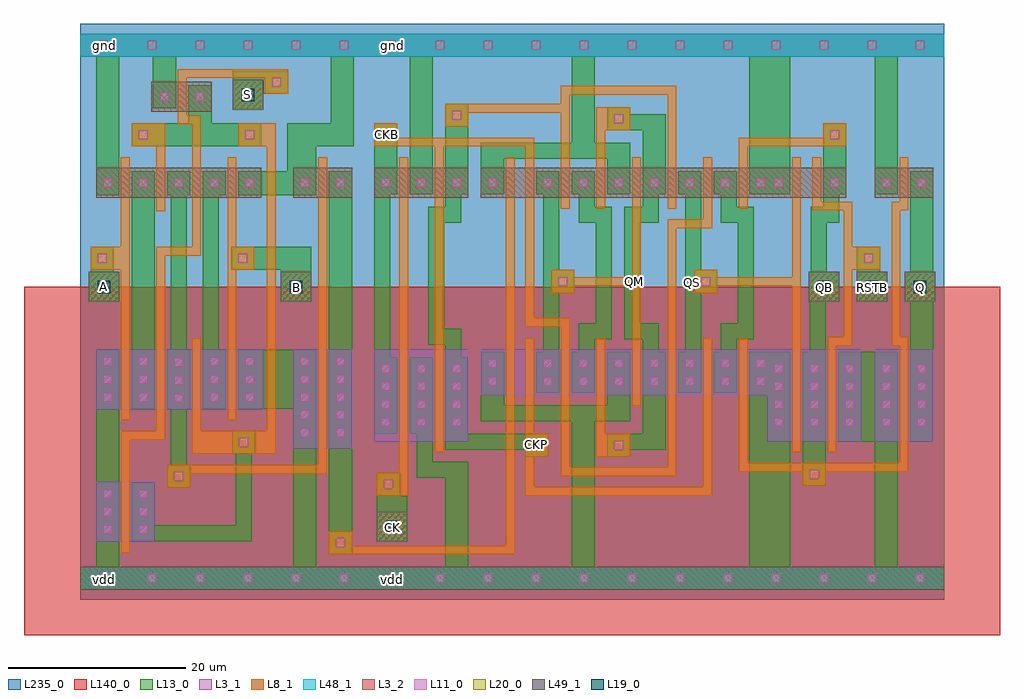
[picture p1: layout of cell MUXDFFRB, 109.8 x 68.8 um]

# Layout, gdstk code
import gdstk
lib = gdstk.Library(unit=1e-6, precision=1e-09)
def R(c, l, rs):  # rectangles x0, y0, x1, y1
    for r in rs: c.add(gdstk.rectangle(r[:2], r[2:], *l))
def A(c, l, x, y, w, h, nx, ny, dx, dy):  # array of equal rectangles
    R(c, l, [(x+i*dx, y+j*dy, x+i*dx+w, y+j*dy+h) for i in range(nx) for j in range(ny)])
def P(c, l, *ps):  # polygons
    for p in ps: c.add(gdstk.Polygon(p, *l))
L3_1 = (3, 1)
L3_2 = (3, 2)
L8_1 = (8, 1)
L11_0 = (11, 0)
L13_0 = (13, 0)
L19_0 = (19, 0)
L20_0 = (20, 0)
L48_1 = (48, 1)
L49_1 = (49, 1)
L140_0 = (140, 0)
L235_0 = (235, 0)

muxdffrb = lib.new_cell('MUXDFFRB')
R(muxdffrb, L3_1, [(1.8,-58.3,8.4,-51.5), (24,-47.8,30.6,-36.6), (33.1,-47,43.7,-36.6), (89.4,-47,96,-36.6), (1.8,-43.4,20.6,-36.6), (45.1,-41.8,71.4,-36.6), (0,-3.7,32.4,-1.1), (32.4,-3.7,71.4,-1.1), (71.4,-3.7,97.2,-1.1)])
P(muxdffrb, L3_1, [(77.3,-47),(77.3,-41.8),(71.4,-41.8),(71.4,-36.6),(87.9,-36.6),(87.9,-47)])
R(muxdffrb, L3_2, [(0,-63.7,32.4,-61.1), (32.4,-63.7,71.4,-61.1), (71.4,-63.7,97.2,-61.1), (1.8,-19.6,20.4,-16.2), (24,-19.6,30.6,-16.2), (33.1,-19.6,43.7,-16.2), (45.1,-19.6,71.4,-16.2), (71.4,-19.6,86.2,-16.2), (89.4,-19.6,96,-16.2), (8,-9.9,14.8,-6.5)])
P(muxdffrb, L8_1, [(58.1,-20.8),(58.1,-9.4),(61.9,-9.4),(61.9,-12),(59.1,-12),(59.1,-20.8)],
  [(54.1,-20.8),(54.1,-10),(43.7,-10),(43.7,-11.6),(41.1,-11.6),(41.1,-9),(54.1,-9),(54.1,-7),(67.1,-7),(67.1,-20.8),(66.1,-20.8),(66.1,-8),(55.1,-8),(55.1,-20.8)],
  [(74.1,-20.8),(74.1,-12.8),(83.6,-12.8),(83.6,-11.2),(86.2,-11.2),(86.2,-13.8),(75.1,-13.8),(75.1,-20.8)],
  [(8.6,-21.1),(8.6,-13.8),(5.8,-13.8),(5.8,-11.2),(9.6,-11.2),(9.6,-21.1)],
  [(62.1,-43),(62.1,-29.5),(55.6,-29.5),(55.6,-30.3),(53,-30.3),(53,-27.7),(55.6,-27.7),(55.6,-28.5),(62.1,-28.5),(62.1,-15),(63.1,-15),(63.1,-43)],
  [(4.6,-44.6),(4.6,-27.7),(1.2,-27.7),(1.2,-25.1),(4.6,-25.1),(4.6,-15),(5.6,-15),(5.6,-44.6)],
  [(16.6,-44.6),(16.6,-15),(17.6,-15),(17.6,-25.1),(19.6,-25.1),(19.6,-27.7),(17.6,-27.7),(17.6,-44.6)],
  [(80.1,-48.2),(80.1,-29.5),(71.7,-29.5),(71.7,-30.3),(69.1,-30.3),(69.1,-27.7),(71.7,-27.7),(71.7,-28.5),(80.1,-28.5),(80.1,-15),(81.1,-15),(81.1,-48.2)],
  [(84.1,-48.2),(84.1,-35.2),(85.9,-35.2),(85.9,-21),(82.4,-21),(82.4,-15),(83.4,-15),(83.4,-20),(86.9,-20),(86.9,-25.1),(90,-25.1),(90,-27.7),(86.9,-27.7),(86.9,-36.2),(85.1,-36.2),(85.1,-48.2)],
  [(12.6,-48.4),(12.6,-35.4),(13.6,-35.4),(13.6,-45.8),(21,-45.8),(21,-13.8),(17.8,-13.8),(17.8,-11.2),(22,-11.2),(22,-48.4)],
  [(58.1,-48.7),(58.1,-35.4),(59.1,-35.4),(59.1,-46.1),(61.9,-46.1),(61.9,-48.7)],
  [(54.1,-50.9),(54.1,-34.1),(50.1,-34.1),(50.1,-13.8),(40.9,-13.8),(40.9,-48.2),(39.9,-48.2),(39.9,-13.8),(33.1,-13.8),(33.1,-11.2),(35.7,-11.2),(35.7,-12.8),(51.1,-12.8),(51.1,-33.1),(55.1,-33.1),(55.1,-49.9),(66.1,-49.9),(66.1,-22),(70.1,-22),(70.1,-15),(71.1,-15),(71.1,-23),(67.1,-23),(67.1,-50.9)],
  [(81.3,-52),(81.3,-50.4),(74.1,-50.4),(74.1,-35.4),(75.1,-35.4),(75.1,-49.4),(92.2,-49.4),(92.2,-36.2),(91.3,-36.2),(91.3,-20),(92.2,-20),(92.2,-15),(93.2,-15),(93.2,-21),(92.3,-21),(92.3,-35.2),(93.2,-35.2),(93.2,-50.4),(83.9,-50.4),(83.9,-52)],
  [(9.8,-52.2),(9.8,-49.6),(26.8,-49.6),(26.8,-15),(27.8,-15),(27.8,-50.6),(12.4,-50.6),(12.4,-52.2)],
  [(33.4,-53.1),(33.4,-50.5),(35.9,-50.5),(35.9,-15),(36.9,-15),(36.9,-53.1)],
  [(50.1,-53.1),(50.1,-35.4),(51.1,-35.4),(51.1,-46.1),(52.7,-46.1),(52.7,-48.7),(51.1,-48.7),(51.1,-52.1),(70.1,-52.1),(70.1,-35.4),(71.1,-35.4),(71.1,-53.1)],
  [(4.6,-59.5),(4.6,-45.8),(8.6,-45.8),(8.6,-25.1),(12.6,-25.1),(12.6,-11.3),(11,-11.3),(11,-5.1),(23.4,-5.1),(23.4,-7.9),(20.8,-7.9),(20.8,-6.1),(12,-6.1),(12,-10.3),(13.6,-10.3),(13.6,-26.1),(9.6,-26.1),(9.6,-46.8),(5.6,-46.8),(5.6,-59.5)],
  [(28,-59.7),(28,-57.1),(30.6,-57.1),(30.6,-58.7),(47.9,-58.7),(47.9,-15),(48.9,-15),(48.9,-59.7)])
A(muxdffrb, L11_0, 2.2, -62.9, 1, 1, 18, 2, 5.4, 60)
A(muxdffrb, L11_0, 2.6, -57.4, 1, 1, 1, 3, 0, 2)
A(muxdffrb, L11_0, 6.6, -57.4, 1, 1, 1, 3, 0, 2)
A(muxdffrb, L11_0, 24.8, -46.5, 1, 1, 1, 5, 0, 2)
A(muxdffrb, L11_0, 28.8, -46.5, 1, 1, 1, 5, 0, 2)
A(muxdffrb, L11_0, 33.9, -45.3, 1, 1, 3, 4, 4, 2)
A(muxdffrb, L11_0, 78.1, -45.3, 1, 1, 1, 3, 0, 2)
A(muxdffrb, L11_0, 10.6, -42.6, 1, 1, 1, 3, 0, 2)
A(muxdffrb, L11_0, 2.6, -42.5, 1, 1, 1, 3, 0, 2)
A(muxdffrb, L11_0, 6.6, -42.5, 1, 1, 1, 3, 0, 2)
A(muxdffrb, L11_0, 14.6, -42.5, 1, 1, 1, 3, 0, 2)
A(muxdffrb, L11_0, 18.6, -42.5, 1, 1, 1, 3, 0, 2)
A(muxdffrb, L11_0, 2.6, -18.4, 1, 1, 5, 1, 4, 0)
A(muxdffrb, L11_0, 33.9, -18.4, 1, 1, 4, 1, 4, 0)
R(muxdffrb, L11_0, [(28.8,-58.9,29.8,-57.9), (34.2,-52.3,35.2,-51.3), (10.6,-51.4,11.6,-50.4), (82.1,-51.2,83.1,-50.2), (50.9,-47.9,51.9,-46.9), (60.1,-47.9,61.1,-46.9), (17.9,-47.6,18.9,-46.6), (82.1,-45.3,83.1,-44.3), (82.1,-45.3,83.1,-44.3), (82.1,-45.3,83.1,-44.3), (86.1,-45.3,87.1,-44.3), (86.1,-45.3,87.1,-44.3), (86.1,-45.3,87.1,-44.3), (90.2,-45.3,91.2,-44.3), (90.2,-45.3,91.2,-44.3), (90.2,-45.3,91.2,-44.3), (90.2,-45.3,91.2,-44.3), (94.2,-45.3,95.2,-44.3), (94.2,-45.3,95.2,-44.3), (82.1,-43.3,83.1,-42.3), (82.1,-43.3,83.1,-42.3), (82.1,-43.3,83.1,-42.3), (86.1,-43.3,87.1,-42.3), (86.1,-43.3,87.1,-42.3), (86.1,-43.3,87.1,-42.3), (90.2,-43.3,91.2,-42.3), (90.2,-43.3,91.2,-42.3), (90.2,-43.3,91.2,-42.3), (90.2,-43.3,91.2,-42.3), (94.2,-43.3,95.2,-42.3), (94.2,-43.3,95.2,-42.3), (78.1,-41.3,79.1,-40.3), (78.1,-41.3,79.1,-40.3), (78.1,-41.3,79.1,-40.3), (78.1,-41.3,79.1,-40.3), (78.1,-41.3,79.1,-40.3), (82.1,-41.3,83.1,-40.3), (82.1,-41.3,83.1,-40.3), (82.1,-41.3,83.1,-40.3), (86.1,-41.3,87.1,-40.3), (86.1,-41.3,87.1,-40.3), (86.1,-41.3,87.1,-40.3), (90.2,-41.3,91.2,-40.3), (90.2,-41.3,91.2,-40.3), (94.2,-41.3,95.2,-40.3), (94.2,-41.3,95.2,-40.3), (45.9,-40.7,46.9,-39.7), (52.1,-40.7,53.1,-39.7), (52.1,-40.7,53.1,-39.7), (56.1,-40.7,57.1,-39.7), (56.1,-40.7,57.1,-39.7), (60.1,-40.7,61.1,-39.7), (60.1,-40.7,61.1,-39.7), (60.1,-40.7,61.1,-39.7), (60.1,-40.7,61.1,-39.7), (64.1,-40.7,65.1,-39.7), (64.1,-40.7,65.1,-39.7), (68.1,-40.7,69.1,-39.7), (68.1,-40.7,69.1,-39.7), (68.1,-40.7,69.1,-39.7), (68.1,-40.7,69.1,-39.7), (72.1,-40.7,73.1,-39.7), (72.1,-40.7,73.1,-39.7), (76.1,-40.7,77.1,-39.7), (78.1,-39.3,79.1,-38.3), (78.1,-39.3,79.1,-38.3), (78.1,-39.3,79.1,-38.3), (78.1,-39.3,79.1,-38.3), (78.1,-39.3,79.1,-38.3), (82.1,-39.3,83.1,-38.3), (82.1,-39.3,83.1,-38.3), (82.1,-39.3,83.1,-38.3), (86.1,-39.3,87.1,-38.3), (86.1,-39.3,87.1,-38.3), (86.1,-39.3,87.1,-38.3), (90.2,-39.3,91.2,-38.3), (90.2,-39.3,91.2,-38.3), (94.2,-39.3,95.2,-38.3), (94.2,-39.3,95.2,-38.3), (45.9,-38.7,46.9,-37.7), (52.1,-38.7,53.1,-37.7), (52.1,-38.7,53.1,-37.7), (56.1,-38.7,57.1,-37.7), (56.1,-38.7,57.1,-37.7), (60.1,-38.7,61.1,-37.7), (60.1,-38.7,61.1,-37.7), (60.1,-38.7,61.1,-37.7), (60.1,-38.7,61.1,-37.7), (64.1,-38.7,65.1,-37.7), (64.1,-38.7,65.1,-37.7), (68.1,-38.7,69.1,-37.7), (68.1,-38.7,69.1,-37.7), (68.1,-38.7,69.1,-37.7), (68.1,-38.7,69.1,-37.7), (72.1,-38.7,73.1,-37.7), (72.1,-38.7,73.1,-37.7), (76.1,-38.7,77.1,-37.7), (53.8,-29.5,54.8,-28.5), (69.9,-29.5,70.9,-28.5), (2,-26.9,3,-25.9), (17.8,-26.9,18.8,-25.9), (88.2,-26.9,89.2,-25.9), (24.8,-18.4,25.8,-17.4), (28.8,-18.4,29.8,-17.4), (52.1,-18.4,53.1,-17.4), (52.1,-18.4,53.1,-17.4), (56.1,-18.4,57.1,-17.4), (56.1,-18.4,57.1,-17.4), (60.1,-18.4,61.1,-17.4), (60.1,-18.4,61.1,-17.4), (60.1,-18.4,61.1,-17.4), (60.1,-18.4,61.1,-17.4), (64.1,-18.4,65.1,-17.4), (64.1,-18.4,65.1,-17.4), (68.1,-18.4,69.1,-17.4), (68.1,-18.4,69.1,-17.4), (68.1,-18.4,69.1,-17.4), (68.1,-18.4,69.1,-17.4), (72.1,-18.4,73.1,-17.4), (72.1,-18.4,73.1,-17.4), (76.1,-18.4,77.1,-17.4), (78.1,-18.4,79.1,-17.4), (78.1,-18.4,79.1,-17.4), (78.1,-18.4,79.1,-17.4), (78.1,-18.4,79.1,-17.4), (78.1,-18.4,79.1,-17.4), (78.1,-18.4,79.1,-17.4), (84.4,-18.4,85.4,-17.4), (90.2,-18.4,91.2,-17.4), (90.2,-18.4,91.2,-17.4), (94.2,-18.4,95.2,-17.4), (6.6,-13,7.6,-12), (18.6,-13,19.6,-12), (33.9,-13,34.9,-12), (84.4,-13,85.4,-12), (60.1,-11.2,61.1,-10.2), (41.9,-10.8,42.9,-9.8), (9,-8.7,10,-7.7), (13,-8.7,14,-7.7), (21.6,-7.1,22.6,-6.1)])
R(muxdffrb, L13_0, [(0,-63.7,32.4,-61.1), (32.4,-63.7,71.4,-61.1), (71.4,-63.7,97.2,-61.1), (1.8,-61.1,4.4,-36.7), (75.3,-61.1,79.9,-36.9), (28,-59.7,30.6,-16.6), (5.8,-43.3,8.4,-16.6), (1.8,-19.3,4.4,-3.7), (37.1,-19.2,39.7,-3.7), (75.3,-19.2,79.9,-3.7), (89.4,-19.2,92,-3.7), (8.2,-9.5,10.8,-3.7), (0,-3.7,32.4,-1.1), (32.4,-3.7,71.4,-1.1), (71.4,-3.7,97.2,-1.1)])
P(muxdffrb, L13_0, [(17.2,-9.7),(17.2,-5.3),(23.4,-5.3),(23.4,-7.9),(20.6,-7.9),(20.6,-9.7)],
  [(5.8,-13.8),(5.8,-11.2),(12.2,-11.2),(12.2,-6.9),(14.8,-6.9),(14.8,-11.2),(20.4,-11.2),(20.4,-13.8)],
  [(45.1,-19.2),(45.1,-13.4),(55.3,-13.4),(55.3,-3.7),(57.9,-3.7),(57.9,-13.4),(61.9,-13.4),(61.9,-19.2),(59.3,-19.2),(59.3,-15.2),(47.7,-15.2),(47.7,-19.2)],
  [(17.8,-19.3),(17.8,-16.6),(23.3,-16.6),(23.3,-11.2),(28.2,-11.2),(28.2,-3.7),(30.8,-3.7),(30.8,-13.8),(26.6,-13.8),(26.6,-19.3)],
  [(1,-31.3),(1,-27.9),(1.2,-27.9),(1.2,-25.1),(3.8,-25.1),(3.8,-27.9),(4.4,-27.9),(4.4,-31.3)],
  [(22.6,-31.3),(22.6,-27.7),(17,-27.7),(17,-25.1),(26,-25.1),(26,-31.3)],
  [(87.4,-31.3),(87.4,-25.1),(90,-25.1),(90,-27.9),(90.8,-27.9),(90.8,-31.3)],
  [(51.3,-41.5),(51.3,-36.9),(52.1,-36.9),(52.1,-19.2),(51.3,-19.2),(51.3,-16.6),(53.9,-16.6),(53.9,-27.7),(55.6,-27.7),(55.6,-30.3),(53.9,-30.3),(53.9,-41.5)],
  [(55.3,-41.5),(55.3,-36.9),(56.1,-36.9),(56.1,-33.7),(58,-33.7),(58,-22.4),(56.1,-22.4),(56.1,-19.2),(55.3,-19.2),(55.3,-16.6),(57.9,-16.6),(57.9,-20.6),(59.8,-20.6),(59.8,-35.5),(57.9,-35.5),(57.9,-41.5)],
  [(67.3,-41.5),(67.3,-36.9),(68.1,-36.9),(68.1,-19.2),(67.3,-19.2),(67.3,-16.6),(69.9,-16.6),(69.9,-27.7),(71.7,-27.7),(71.7,-30.3),(69.9,-30.3),(69.9,-41.5)],
  [(71.3,-41.5),(71.3,-36.9),(72.1,-36.9),(72.1,-33.7),(74,-33.7),(74,-22.4),(72.1,-22.4),(72.1,-19.2),(71.3,-19.2),(71.3,-16.6),(73.9,-16.6),(73.9,-20.6),(75.8,-20.6),(75.8,-35.5),(73.9,-35.5),(73.9,-41.5)],
  [(13.8,-43.3),(13.8,-16.6),(16.4,-16.6),(16.4,-19.3),(15.6,-19.3),(15.6,-36.7),(16.4,-36.7),(16.4,-43.3)],
  [(33.1,-46.1),(33.1,-11.2),(35.7,-11.2),(35.7,-19.2),(34.9,-19.2),(34.9,-37.5),(35.7,-37.5),(35.7,-46.1)],
  [(93.4,-47),(93.4,-31.3),(92.8,-31.3),(92.8,-27.9),(93.4,-27.9),(93.4,-16.6),(96,-16.6),(96,-27.9),(96.2,-27.9),(96.2,-31.3),(96,-31.3),(96,-47)],
  [(50.1,-48.7),(50.1,-47.9),(41.1,-47.9),(41.1,-36.1),(39.2,-36.1),(39.2,-20.6),(41.1,-20.6),(41.1,-9),(43.7,-9),(43.7,-19.2),(42.9,-19.2),(42.9,-22.4),(41,-22.4),(41,-34.3),(42.9,-34.3),(42.9,-37.5),(43.7,-37.5),(43.7,-46.1),(52.7,-46.1),(52.7,-48.7)],
  [(59.3,-48.7),(59.3,-46.1),(63.3,-46.1),(63.3,-35.5),(61.2,-35.5),(61.2,-20.6),(63.3,-20.6),(63.3,-12),(59.3,-12),(59.3,-9.4),(61.9,-9.4),(61.9,-10.2),(65.9,-10.2),(65.9,-19.2),(65.1,-19.2),(65.1,-22.4),(63,-22.4),(63,-33.7),(65.1,-33.7),(65.1,-36.9),(65.9,-36.9),(65.9,-47.9),(61.9,-47.9),(61.9,-48.7)],
  [(81.3,-52),(81.3,-36.9),(82.1,-36.9),(82.1,-31.3),(82,-31.3),(82,-27.9),(82.2,-27.9),(82.2,-20.6),(83.6,-20.6),(83.6,-11.2),(86.2,-11.2),(86.2,-19.2),(85.4,-19.2),(85.4,-22.4),(84,-22.4),(84,-27.9),(85.4,-27.9),(85.4,-31.3),(83.9,-31.3),(83.9,-52)],
  [(9.8,-52.2),(9.8,-49.6),(10.2,-49.6),(10.2,-43.3),(9.8,-43.3),(9.8,-36.7),(10.2,-36.7),(10.2,-19.3),(9.8,-19.3),(9.8,-16.6),(12.4,-16.6),(12.4,-19.3),(12,-19.3),(12,-36.7),(12.4,-36.7),(12.4,-43.3),(12,-43.3),(12,-49.6),(12.4,-49.6),(12.4,-52.2)],
  [(5.8,-58.2),(5.8,-51.6),(8.4,-51.6),(8.4,-56.4),(17.5,-56.4),(17.5,-48.4),(17.1,-48.4),(17.1,-45.8),(19.7,-45.8),(19.7,-48.4),(19.3,-48.4),(19.3,-58.2)],
  [(33.4,-58.3),(33.4,-50.5),(36,-50.5),(36,-53.1),(36.8,-53.1),(36.8,-58.3)],
  [(24,-61.1),(24,-43.3),(17.8,-43.3),(17.8,-36.7),(26.6,-36.7),(26.6,-61.1)],
  [(41.1,-61.1),(41.1,-51.1),(37.9,-51.1),(37.9,-46.1),(37.1,-46.1),(37.1,-37.5),(39.7,-37.5),(39.7,-49.3),(43.7,-49.3),(43.7,-61.1)],
  [(55.3,-61.1),(55.3,-44.7),(45.1,-44.7),(45.1,-36.9),(47.7,-36.9),(47.7,-42.9),(59.3,-42.9),(59.3,-36.9),(61.9,-36.9),(61.9,-44.7),(57.9,-44.7),(57.9,-61.1)],
  [(89.4,-61.1),(89.4,-47),(85.3,-47),(85.3,-36.9),(92,-36.9),(92,-61.1)])
A(muxdffrb, L19_0, 83, -30.3, 1.4, 1.4, 3, 1, 5.4, 0)
R(muxdffrb, L19_0, [(34.4,-57.3,35.8,-55.9), (2,-30.3,3.4,-28.9), (2,-30.3,3.4,-28.9), (2,-30.3,3.4,-28.9), (23.6,-30.3,25,-28.9), (23.6,-30.3,25,-28.9), (23.6,-30.3,25,-28.9), (23.6,-30.3,25,-28.9), (83,-30.3,84.4,-28.9), (18.2,-8.7,19.6,-7.3)])
A(muxdffrb, L20_0, 82, -31.3, 3.4, 3.4, 3, 1, 5.4, 0)
R(muxdffrb, L20_0, [(33.4,-58.3,36.8,-54.9), (1,-31.3,4.4,-27.9), (1,-31.3,4.4,-27.9), (1,-31.3,4.4,-27.9), (22.6,-31.3,26,-27.9), (22.6,-31.3,26,-27.9), (22.6,-31.3,26,-27.9), (22.6,-31.3,26,-27.9), (82,-31.3,85.4,-27.9), (17.2,-9.7,20.6,-6.3)])
R(muxdffrb, L48_1, [(0,-63.7,32.4,-61.1), (32.4,-63.7,71.4,-61.1), (32.4,-63.7,97.2,-61.1), (0,-3.7,32.4,-1.1), (32.4,-3.7,71.4,-1.1), (32.4,-3.7,97.2,-1.1)])
A(muxdffrb, L49_1, 82, -31.3, 3.4, 3.4, 3, 1, 5.4, 0)
R(muxdffrb, L49_1, [(33.4,-58.3,36.8,-54.9), (1,-31.3,4.4,-27.9), (22.6,-31.3,26,-27.9), (82,-31.3,85.4,-27.9), (17.2,-9.7,20.6,-6.3)])
R(muxdffrb, L140_0, [(-6.3,-68.8,103.5,-29.6)])
R(muxdffrb, L235_0, [(0,-64.8,97.2,0)])
muxdffrb.add(gdstk.Label('gnd', (2.7,-2.4), layer=48, texttype=0))
muxdffrb.add(gdstk.Label('vdd', (2.7,-62.5), layer=48, texttype=0))
muxdffrb.add(gdstk.Label('CKP', (51.4,-47.3), layer=48, texttype=0))
muxdffrb.add(gdstk.Label('vdd', (35.2,-62.5), layer=48, texttype=0))
muxdffrb.add(gdstk.Label('gnd', (35.2,-2.4), layer=48, texttype=0))
muxdffrb.add(gdstk.Label('QS', (68.9,-29.1), layer=48, texttype=0))
muxdffrb.add(gdstk.Label('QM', (62.4,-29), layer=48, texttype=0))
muxdffrb.add(gdstk.Label('CKB', (34.5,-12.5), layer=48, texttype=0))
muxdffrb.add(gdstk.Label('gnd', (35.1,-2.4), layer=48, texttype=0))
muxdffrb.add(gdstk.Label('vdd', (35.1,-62.5), layer=48, texttype=0))
muxdffrb.add(gdstk.Label('A', (2.6,-29.6), layer=49, texttype=0))
muxdffrb.add(gdstk.Label('B', (24.3,-29.7), layer=49, texttype=0))
muxdffrb.add(gdstk.Label('S', (18.8,-8), layer=49, texttype=0))
muxdffrb.add(gdstk.Label('RSTB', (89.1,-29.7), layer=49, texttype=0))
muxdffrb.add(gdstk.Label('CK', (35.2,-56.7), layer=49, texttype=0))
muxdffrb.add(gdstk.Label('QB', (83.7,-29.7), layer=49, texttype=0))
muxdffrb.add(gdstk.Label('QB', (83.7,-29.7), layer=49, texttype=0))
muxdffrb.add(gdstk.Label('Q', (94.5,-29.7), layer=49, texttype=0))

lib.write_gds('MUXDFFRB.gds')
